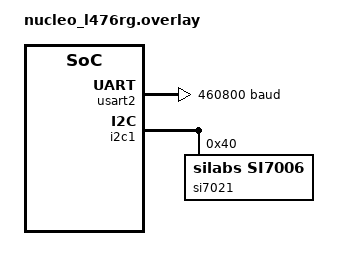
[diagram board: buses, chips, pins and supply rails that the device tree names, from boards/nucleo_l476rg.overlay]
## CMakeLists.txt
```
# SPDX-License-Identifier: Apache-2.0

cmake_minimum_required(VERSION 3.20.0)

find_package(Zephyr REQUIRED HINTS $ENV{ZEPHYR_BASE})
project(weather_station_app)

rust_cargo_application()
```

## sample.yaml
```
sample:
  description: weather station app in Rust
  name: weather station app
common:
  harness: console
  harness_config:
    type: one_line
    regex:
    - "weather station app rust on (.*)"
    filter: CONFIG_RUST_SUPPORTED
tests:
  sample.rust.hellorust:
    tags: introduction
```

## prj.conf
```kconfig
# Shell config
CONFIG_SHELL=y
CONFIG_INIT_STACKS=y
CONFIG_THREAD_STACK_INFO=y
CONFIG_KERNEL_SHELL=y
CONFIG_THREAD_MONITOR=y
CONFIG_BOOT_BANNER=n
CONFIG_THREAD_NAME=y
CONFIG_DEVICE_SHELL=y
CONFIG_DATE_SHELL=y
CONFIG_POSIX_TIMERS=y
CONFIG_THREAD_RUNTIME_STATS=y
CONFIG_THREAD_RUNTIME_STATS_USE_TIMING_FUNCTIONS=y
CONFIG_STATS=y
CONFIG_STATS_SHELL=y
CONFIG_SHELL_LOG_LEVEL_INF=y
CONFIG_SHELL_TAB=y
CONFIG_SHELL_TAB_AUTOCOMPLETION=y
CONFIG_SHELL_HISTORY=y
CONFIG_SHELL_HISTORY_BUFFER=1024
CONFIG_SHELL_METAKEYS=y
CONFIG_POSIX_ENV_SHELL=y

# Peripheral & Shell config
CONFIG_GPIO=y
CONFIG_GPIO_SHELL=y

CONFIG_I2C=y
CONFIG_I2C_SHELL=y

CONFIG_SENSOR=y
CONFIG_SENSOR_SHELL=y

# Kernel config
CONFIG_REBOOT=y

# HWInfo config
CONFIG_HWINFO=y
CONFIG_HWINFO_SHELL=y

# Log config
CONFIG_LOG=y
CONFIG_LOG_CMDS=y
CONFIG_LOG_BACKEND_UART=y

# FS config
CONFIG_FLASH=y
CONFIG_FLASH_SHELL=y
#CONFIG_FS_LOG_LEVEL_DBG=y
CONFIG_HEAP_MEM_POOL_SIZE=16384
CONFIG_FILE_SYSTEM=y
CONFIG_FILE_SYSTEM_SHELL=y
CONFIG_FILE_SYSTEM_LITTLEFS=y
CONFIG_FLASH_MAP=y
CONFIG_FLASH_MAP_SHELL=y

# MCUMGR config
CONFIG_MCUMGR=y
CONFIG_NET_BUF=y
CONFIG_ZCBOR=y

CONFIG_CRC=y
CONFIG_CRC_SHELL=y

# MCUBOOT config
# CONFIG_MCUBOOT_GENERATE_UNSIGNED_IMAGE=y
# CONFIG_BOOTLOADER_MCUBOOT=y

CONFIG_RUST=y
CONFIG_PRINTK=y

# Seems necessary for exception unwinding
CONFIG_CPP=y

CONFIG_MAIN_STACK_SIZE=8192
CONFIG_HEAP_MEM_POOL_SIZE=32768
```

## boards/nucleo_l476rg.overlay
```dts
/*
 * Copyright (c) 2024 Ezra Godfrey
 *
 * SPDX-License-Identifier: Apache-2.0
 */

/ {
	 aliases {
		uart0 = &usart2;
	};
};

&usart2 {
	current-speed = <460800>;
};

&i2c1 {
	si7021: si7021@40 {
		compatible = "silabs,si7006";
		reg = <0x40>;
		status = "okay";
	};
};
```

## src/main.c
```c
#include <stdio.h>
#include <zephyr/kernel.h>
#include <zephyr/drivers/gpio.h>
#include <zephyr/logging/log.h>

LOG_MODULE_REGISTER(main);

#define SLEEP_TIME_MS   1000

/* The devicetree node identifier for the "led0" alias. */
#define LED0_NODE DT_ALIAS(led0)
static const struct gpio_dt_spec led = GPIO_DT_SPEC_GET(LED0_NODE, gpios);

int main(void)
{
    int status;

    if (!gpio_is_ready_dt(&led)) {
        return 0;
    }

    status = gpio_pin_configure_dt(&led, GPIO_OUTPUT_ACTIVE);
    if (status < 0) {
	return 0;
    }

    while (1) {
	status = gpio_pin_toggle_dt(&led);
	if (status < 0) {
	    return 0;
	}

	k_msleep(SLEEP_TIME_MS);
    }
    return 0;
}
```

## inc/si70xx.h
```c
#ifndef __si70xx__H__
#define __si70xx__H__

#include <unistd.h>
#include <sys/types.h>
#include <zephyr/shell/shell.h>

#define SI70XX_I2C_ADDR                             0x40
#define SI70XX_I2C_NAME                             "Si70xx"

/* DEBUG FLAGS FOR MORE PRINTF INFO */
//#define IOCTL_DBG

/*      0x0D = Si7013
        0x14 = Si7020
        0x15 = Si7021       */
#define SI70XX_I2C_SENSOR_VER_13                    13
#define SI70XX_I2C_SENSOR_VER_20                    20
#define SI70XX_I2C_SENSOR_VER_21                    21
#define SI70XX_I2C_FW_REV_1_0                       0xFF
#define SI70XX_I2C_FW_REV_2_0                       0x20

// These are the max delay at 12-bit RH value.
#define SI70XX_REL_HUMIDTY_READ_MAX_DELAY_MS        12000
// These are the max delay at 14-bit temperature value.
#define SI70XX_TEMPERATURE_READ_MAX_DELAY_MS        10800

int32_t verify_si70xx_version(u_int64_t* serial_num);
int32_t read_humidity_temperature(u_int16_t* rh_hum, u_int16_t* temper);
int32_t read_temperature(u_int16_t* raw_temp);
int32_t read_relative_humidity(u_int16_t* rh_hum);
void    print_fw_ver(u_int8_t fw_id);
void    print_elec_serl_num(int8_t fw_id);
double   convert_and_print_temp(u_int16_t raw_temp);
double   convert_and_print_humid(u_int16_t raw_humid);
int32_t si70xx_get_fw(u_int8_t* fw_ver);
int32_t si70xx_get_sensor_id(u_int8_t* sensor_id, u_int64_t* serial_num);
int32_t si70xx_reset(const struct shell* sh);

#endif /*  __si70xx__H__  */
```

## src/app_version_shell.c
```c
#include <stdio.h>
#include <string.h>
#include <zephyr/shell/shell.h>
#include "app_version.h"

static int version(const struct shell* sh)
{
    shell_print(sh, "App version: v%d.%d.%d.%d", APP_VERSION_MAJOR, APP_VERSION_MINOR, APP_PATCHLEVEL, APP_TWEAK);
    return 0;
}

/* Creating root (level 0) command "version" */
SHELL_CMD_REGISTER(version, NULL, "the application version", version);
```

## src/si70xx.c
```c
#include <zephyr/logging/log.h>
#include <string.h>
#include <stdio.h>
#include <zephyr/drivers/i2c.h>

#include "si70xx.h"

LOG_MODULE_REGISTER(si70xx);

#define I2C_INST DT_NODELABEL(i2c1)

const struct device *const i2c_dev = DEVICE_DT_GET(I2C_INST);


/*  Return - 0 means success, negative value is failure.

    u_int8_t*  sensor_id  - sensor_id to return to the user.
    u_int64_t* serial_num - serial_num to return to the user.
*/
int32_t si70xx_get_sensor_id(u_int8_t* sensor_id, u_int64_t* serial_num)
{
    int32_t                     ret     = -1;
    u_int8_t                    read_buf[6];
    u_int8_t                    write_buf[2];

    if( sensor_id == NULL ){
        LOG_ERR("sensor_id == NULL.\n");
        return ret;
    }
    if( serial_num == NULL ){
        LOG_ERR("serial_num == NULL.\n");
        return ret;
    }

    memset(read_buf, 0, 6);
    memset(write_buf, 0, 2);

    write_buf[0] = 0xFA;
    write_buf[1] = 0x0F;
    ret = i2c_write(i2c_dev, (u_int8_t*)write_buf, 2, SI70XX_I2C_ADDR);
    if( ret != 0 ){
        LOG_ERR("i2c_write() failed w/ err: %d", ret);
        return ret;
    }
    ret = i2c_read(i2c_dev, (u_int8_t*)read_buf, 6, SI70XX_I2C_ADDR);
    if( ret != 0 ) {
        return ret;
    }

    *serial_num = ((((u_int64_t)read_buf[0] << 56)&0xFF00000000000000) + *serial_num);
    *serial_num = ((((u_int64_t)read_buf[1] << 48)&0xFF000000000000) + *serial_num);
    *serial_num = ((((u_int64_t)read_buf[2] << 40)&0xFF0000000000) + *serial_num);
    *serial_num = ((((u_int64_t)read_buf[3] << 32)&0xFF00000000) + *serial_num);
    memset(read_buf, 0, 6);
    memset(write_buf, 0, 2);

    write_buf[0] = 0xFC;
    write_buf[1] = 0xC9;
    ret = i2c_write(i2c_dev, (u_int8_t*)write_buf, 2, SI70XX_I2C_ADDR);
    if( ret != 0 ){
        LOG_ERR("i2c_write() failed w/ err: %d", ret);
        return ret;
    }
    ret = i2c_read(i2c_dev, (u_int8_t*)read_buf, 6, SI70XX_I2C_ADDR);
    if( ret == 0 ){
        *sensor_id = read_buf[0];
    } else {
        return ret;
    }
    *serial_num = ((((u_int64_t)read_buf[0] << 24)&0xFF000000) + *serial_num);
    *serial_num = ((((u_int64_t)read_buf[1] << 16)&0xFF0000) + *serial_num);
    *serial_num = ((((u_int64_t)read_buf[2] <<  8)&0xFF00) + *serial_num);
    *serial_num = ((((u_int64_t)read_buf[3] <<  0)&0xFF) + *serial_num);

    return 0;
}

/*  Return - 0 means success, negative value is failure.

    int8_t* fw_ver  - fw_ver to return to the user.
*/
int32_t si70xx_get_fw(u_int8_t* fw_ver)
{
    int32_t                     ret     = -1;
    u_int8_t                    write_buf[2];
    u_int8_t                    read_buf[1];
    memset(read_buf, 0, 1);
    memset(write_buf, 0, 2);

    if( fw_ver == NULL ){
        LOG_ERR("fw_ver == NULL.\n");
        return ret;
    }

    write_buf[0] = 0x84;
    write_buf[1] = 0xB8;
    ret = i2c_write(i2c_dev, (u_int8_t*)write_buf, 2, SI70XX_I2C_ADDR);
    if( ret != 0 ){
        LOG_ERR("i2c_write() failed w/ err: %d", ret);
        return ret;
    }
    ret = i2c_read(i2c_dev, (u_int8_t*)read_buf, 1, SI70XX_I2C_ADDR);
    if( ret == 0 ){
        *fw_ver = read_buf[0];
    }

    return 0;
}

/*  Return - 0 means success, negative value is failure.

    void
*/
int32_t si70xx_reset(const struct shell* sh)
{
    int32_t                     ret     = -1;
    u_int8_t                    write_buf[1];
    u_int8_t                    read_buf[1];
    memset(read_buf, 0, 1);
    memset(write_buf, 0, 1);

    write_buf[0] = 0xFE;
    ret = i2c_write(i2c_dev, (u_int8_t*)write_buf, 1, SI70XX_I2C_ADDR);
    if( ret != 0 ){
        shell_print(sh, "i2c_write() failed w/ err: %d", ret);
        return ret;
    }
    ret = i2c_read(i2c_dev, (u_int8_t*)read_buf, 1, SI70XX_I2C_ADDR);

    return 0;
}

int32_t init_i2c_device()
{
    int32_t     ret = -1;

	if (!device_is_ready(i2c_dev)) {
		LOG_ERR("i2c is not ready!\n");
        return ret;
	} else {
		LOG_DBG("i2c is ready\n");
        ret = 0;
	}

    return ret;
}

/*
    Verify Si70xx Version Info.
*/
int32_t verify_si70xx_version(u_int64_t* serial_num)
{
    int32_t     ret = -1;
    u_int8_t    fw_ver = 0x0, sensor_id_01 = 0x0;
    u_int8_t    exp_fw_ver_01 = 0xFF, exp_fw_ver_02 = 0x20,  exp_sensor_id_01 = 0x14, exp_sensor_id_02 = 0x15;

    if( serial_num == NULL ){
        return ret;
    }

    ret = init_i2c_device();
    if ( ret < 0 ){
        LOG_ERR("Failed to open the i2c device.");
        return -2;
    }

    ret = si70xx_get_fw(&fw_ver);
    if ( ret < 0 ){
        LOG_ERR("Failed to get the FW id from the tempature/humidity device.");
        return -3;
    }

    ret = si70xx_get_sensor_id(&sensor_id_01, serial_num);
    if ( ret < 0 ){
        LOG_ERR("Failed to get the FW id from the tempature/humidity device.");
        return -4;
    }
    LOG_DBG("serial_num: 0x%llx\n", *serial_num);

    if( (exp_fw_ver_01    == fw_ver || exp_fw_ver_02 == fw_ver ) &&
        (exp_sensor_id_01 == sensor_id_01 ||
         exp_sensor_id_02 == sensor_id_01 ) ){
        return 0;
    }

    LOG_ERR("Error one of FW version, sensor ID 01, or sensor ID 02 did not match!\n");
    return -5;
}

/*
    Read both the raw humidity and the temperature raw data and return it.

    Based on the Si7021 data sheet there is a 4.5 ms (max) delay when
    reading 10-bit Relative Humidity and there is a 6.2 ms (max) delay
    when reading 13-bit temperature.
*/
int32_t read_humidity_temperature(u_int16_t* raw_humid, u_int16_t* raw_temp)
{
    u_int8_t    read_buf[2];
    u_int8_t    write_buf[1];
    int32_t     ret             = -1;

    if( raw_humid == NULL ){
        LOG_ERR("raw_humid == NULL.\n");
        return ret;
    }

    ret = init_i2c_device();
    if ( ret < 0 ){
        LOG_ERR("Failed to open the i2c device.");
        return -2;
    }

    memset(read_buf, 0, 2);
    memset(write_buf, 0, 1);
    write_buf[0] = 0xE5;
    ret = i2c_write(i2c_dev, (u_int8_t*)write_buf, 1, SI70XX_I2C_ADDR);
    if( ret != 0 ){
        LOG_ERR("i2c_write() failed w/ err: %d", ret);
        return ret;
    }
    ret = i2c_read(i2c_dev, (u_int8_t*)read_buf, 2, SI70XX_I2C_ADDR);
    if( ret == 0 ){
        *raw_humid = ((((u_int16_t)read_buf[0] <<  8)&0xFF00) + *raw_humid);
        *raw_humid = ((((u_int16_t)read_buf[1] <<  0)&0xFF)   + *raw_humid);
    } else {
        return ret;
    }

    /* We do this check here, rather than up top, so we can support
      raw_humid being non-null and raw_temp being null so this API
      will support just reading the raw_humid or reading both raw_humid
      and raw_temp
    */
    if( raw_temp == NULL ){
        // return 0 because the above raw_humid call worked.
        return 0;
    }

    memset(read_buf, 0, 2);
    memset(write_buf, 0, 1);
    write_buf[0] = 0xE0; /* read temp from previous RH measurement. */
    ret = i2c_write(i2c_dev, (u_int8_t*)write_buf, 1, SI70XX_I2C_ADDR);
    if( ret != 0 ){
        LOG_ERR("i2c_write() failed w/ err: %d", ret);
        return ret;
    }
    ret = i2c_read(i2c_dev, (u_int8_t*)read_buf, 2, SI70XX_I2C_ADDR);
    if( ret == 0 ){
        *raw_temp = ((((u_int16_t)read_buf[0] <<  8)&0xFF00) + *raw_temp);
        *raw_temp = ((((u_int16_t)read_buf[1] <<  0)&0xFF)   + *raw_temp);
    } else {
        return ret;
    }

    return 0;
}

/*
    Read the raw temperature data and return it.

    Based on the Si7021 data sheet there is a 4.5 ms (max) delay when
    reading 10-bit Relative Humidity and there is a 6.2 ms (max) delay
    when reading 13-bit temperature.
*/
int32_t read_temperature(u_int16_t* raw_temp)
{
    u_int8_t    read_buf[2];
    u_int8_t    write_buf[1];
    int32_t     ret         = -1;

    if( raw_temp == NULL ){
        LOG_ERR("raw_temp == NULL.\n");
        return ret;
    }

    ret = init_i2c_device();
    if ( ret < 0 ){
        LOG_ERR("Failed to open the i2c device.");
        return -2;
    }

    memset(read_buf, 0, 2);
    memset(write_buf, 0, 1);
    write_buf[0] = 0xE3;
    ret = i2c_write(i2c_dev, (u_int8_t*)write_buf, 1, SI70XX_I2C_ADDR);
    if( ret != 0 ){
        LOG_ERR("i2c_write() failed w/ err: %d", ret);
        return ret;
    }
    ret = i2c_read(i2c_dev, (u_int8_t*)read_buf, 2, SI70XX_I2C_ADDR);
    if( ret == 0 ){
        *raw_temp = ((((u_int16_t)read_buf[0] <<  8)&0xFF00) + *raw_temp);
        *raw_temp = ((((u_int16_t)read_buf[1] <<  0)&0xFF)   + *raw_temp);
    } else {
        return ret;
    }

    return 0;
}
```

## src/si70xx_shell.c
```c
#include <zephyr/logging/log.h>
#include <string.h>
#include <stdio.h>
#include <zephyr/drivers/i2c.h>
#include <zephyr/shell/shell.h>

#include "si70xx.h"

static int temp(const struct shell* sh)
{
    int		status;
    double      temp = 0.0;
    u_int16_t	raw_temp = 0;

    status = read_temperature(&raw_temp);
    if( status < 0 ){
        shell_print(sh, "failed to get the temperature, status: %d", status);
        return status;
    }
    temp = ((((double)raw_temp * 175.72)/65536.0)-46.85);
    shell_print(sh, "temperature: %lf C \t%lf F", temp, ((1.8*temp)+32.0));

    return status;
}

static int humid(const struct shell* sh)
{
    int         status;
    double      rel_humid = 0.0;
    u_int16_t	raw_humid = 0;

    status = read_humidity_temperature(&raw_humid, NULL);
    if( status < 0 ){
        shell_print(sh, "failed to get the relative humidity or temperature, status: %d", status);
        return status;
    }
    rel_humid = ((((double)raw_humid * 125.0)/65536.0) - 6.0);
    shell_print(sh, "relative humidity: %lf %%", rel_humid );

    return status;
}

static int fw_version(const struct shell* sh)
{
    int32_t     status = -1;
    u_int8_t    fw_ver = 0x0;

    status = si70xx_get_fw(&fw_ver);
    if ( status < 0 ){
        shell_print(sh, "failed to get the Firmware version, status: %d", status);
        return status;
    }
    // shell_print(sh, "firmware version: 0x%x ", fw_ver );
    if( fw_ver == SI70XX_I2C_FW_REV_1_0 ) {
        shell_print(sh, "Firware version is 1.0");
    } else if( fw_ver == SI70XX_I2C_FW_REV_2_0 ) {
        shell_print(sh, "Firware version is 2.0");
    } else {
        shell_print(sh, "%s: error could not detect FW version. fw_ver:0x%x", __func__, fw_ver);
    }

    return status;
}

static int sensor_id(const struct shell* sh)
{
    int32_t     status = -1;
    u_int8_t    sensor_id_01 = 0x0;
    u_int64_t   serial_num = 0;

    status = si70xx_get_sensor_id(&sensor_id_01, &serial_num);
    if ( status < 0 ){
        shell_print(sh, "failed to get the sensor id, status: %d", status);
        return status;
    }
    shell_print(sh, "sensor_id: 0x%x", sensor_id_01);

    return status;
}

static int serial_num(const struct shell* sh)
{
    int32_t     status = -1;
    u_int8_t    sensor_id_01 = 0x0;
    u_int8_t    version_id = 0;
    u_int64_t   serial_num = 0;

    status = si70xx_get_sensor_id(&sensor_id_01, &serial_num);
    if ( status < 0 ){
        shell_print(sh, "failed to get the serial number, status: %d", status);
        return status;
    }
    shell_print(sh, "serial_num: 0x%llx", serial_num);

    version_id = (((serial_num & 0xFF000000) >> 24));
    if( version_id == SI70XX_I2C_SENSOR_VER_13 ){
        shell_print(sh, "electronic serial number for the Si7013 sensor");
    } else if( version_id == SI70XX_I2C_SENSOR_VER_20 ){
        shell_print(sh, "electronic serial number for the Si7020 sensor");
    } else if( version_id == SI70XX_I2C_SENSOR_VER_21 ) {
        shell_print(sh, "electronic serial number for the Si7021 sensor");
    } else {
        shell_print(sh, "%s: error could not detect electric serial number. version_id:0x%x", __func__, version_id);
    }

    return status;
}

/* Creating subcommands (level 1 command) array for command "si70xx". */
SHELL_STATIC_SUBCMD_SET_CREATE(sub_si20xx,
        SHELL_CMD(temp,         NULL, "get temperature",        temp),
        SHELL_CMD(humid,        NULL, "get humidity",           humid),
        SHELL_CMD(sensor_id,    NULL, "get sensor ID",          sensor_id),
        SHELL_CMD(serial_num,   NULL, "get serial number",      serial_num),
        SHELL_CMD(fw_version,   NULL, "get firmware version",   fw_version),
        SHELL_CMD(reset,        NULL, "reset the sensor",       si70xx_reset),
        SHELL_SUBCMD_SET_END
);
/* Creating root (level 0) command "si70xx" */
SHELL_CMD_REGISTER(si70xx, &sub_si20xx, "si70xx relative humidity & temperature sensor", NULL);
```
